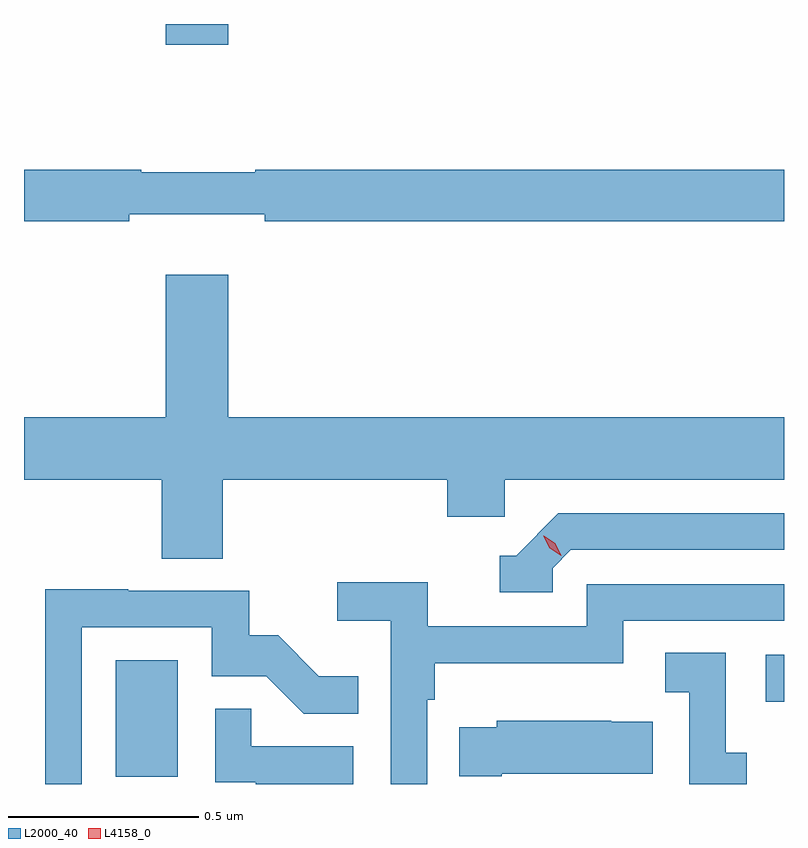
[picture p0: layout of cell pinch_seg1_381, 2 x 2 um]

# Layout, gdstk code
import gdstk
lib = gdstk.Library(unit=1e-6, precision=1e-09)
def R(c, l, rs):  # rectangles x0, y0, x1, y1
    for r in rs: c.add(gdstk.rectangle(r[:2], r[2:], *l))
def P(c, l, *ps):  # polygons
    for p in ps: c.add(gdstk.Polygon(p, *l))
L2000_40 = (2000, 40)
L4158_0 = (4158, 0)

pinch_seg1_381 = lib.new_cell('pinch_seg1_381')
R(pinch_seg1_381, L2000_40, [(956.084,534.966,956.248,535.273), (957.795,535.163,957.843,535.287), (956.216,536.892,956.38,536.947)])
P(pinch_seg1_381, L2000_40, [(956.12,536.447),(956.476,536.447),(956.476,536.428),(957.843,536.428),(957.843,536.564),(956.452,536.564),(956.452,536.557),(956.152,536.557),(956.152,536.564),(955.843,536.564),(955.843,536.428),(956.12,536.428)],
  [(956.366,535.748),(956.957,535.748),(956.957,535.65),(957.108,535.65),(957.108,535.748),(957.843,535.748),(957.843,535.912),(956.38,535.912),(956.38,536.287),(956.216,536.287),(956.216,535.912),(955.843,535.912),(955.843,535.748),(956.206,535.748),(956.206,535.54),(956.366,535.54)],
  [(957.234,535.515),(957.282,535.563),(957.843,535.563),(957.843,535.659),(957.249,535.659),(957.138,535.548),(957.095,535.548),(957.095,535.452),(957.234,535.452)],
  [(956.904,535.169),(956.924,535.169),(956.924,535.265),(957.42,535.265),(957.42,535.377),(957.843,535.377),(957.843,535.473),(957.324,535.473),(957.324,535.362),(956.906,535.362),(956.906,535.478),(956.667,535.478),(956.667,535.376),(956.808,535.376),(956.808,534.947),(956.904,534.947)],
  [(955.995,535.359),(956.337,535.359),(956.337,535.23),(956.481,535.23),(956.579,535.132),(956.723,535.132),(956.723,535.231),(956.619,535.231),(956.512,535.338),(956.436,535.338),(956.436,535.455),(956.117,535.455),(956.117,535.46),(955.899,535.46),(955.899,534.947),(955.995,534.947)],
  [(957.745,535.029),(957.69,535.029),(957.69,535.292),(957.531,535.292),(957.531,535.189),(957.594,535.189),(957.594,534.947),(957.745,534.947)],
  [(956.71,535.047),(956.441,535.047),(956.441,535.145),(956.346,535.145),(956.346,534.951),(956.453,534.951),(956.453,534.947),(956.71,534.947)],
  [(957.1,534.974),(957.497,534.974),(957.497,535.111),(957.389,535.111),(957.389,535.114),(957.087,535.114),(957.087,535.096),(956.989,535.096),(956.989,534.967),(957.1,534.967)])
P(pinch_seg1_381, L4158_0, [(957.257,535.548),(957.226,535.568),(957.21,535.6),(957.21,535.6),(957.211,535.6),(957.241,535.581),(957.257,535.548),(957.257,535.548)])

lib.write_gds('pinch_seg1_381.gds')
